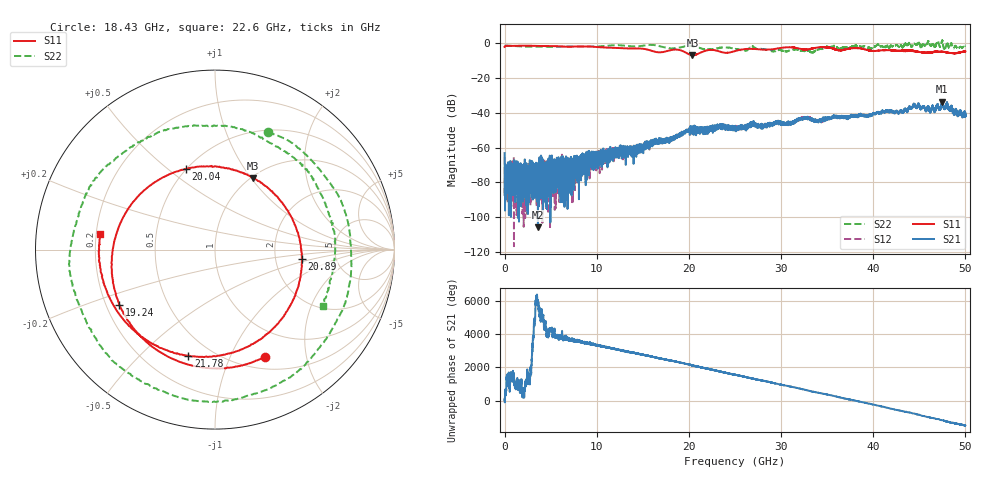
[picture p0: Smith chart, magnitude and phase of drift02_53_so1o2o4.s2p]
!Created with skrf (http://scikit-rf.org).
# Hz S RI R 50.0
!freq ReS11 ImS11 ReS21 ImS21 ReS12 ImS12 ReS22 ImS22
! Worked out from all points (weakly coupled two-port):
!   10001 points, 300 kHz to 50 GHz, reference 50 ohm
!   highest |S21| = -33.65 dB at 47.5 GHz (marker M1); lowest = -106.0 dB at 3.615 GHz (marker M2)
!   lowest |S11| = -6.9 dB at 20.38 GHz (marker M3), VSWR 2.64, Z = 51.2 + j51.1 ohm
!   |S11| at or under -10 dB: nowhere
!   |S22| runs from -5.3 to 1.7 dB; largest |S21 - S12| = 0.0041
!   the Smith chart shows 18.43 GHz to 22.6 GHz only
!   S11 on the Smith chart (normalised r, x): 18.43 GHz: 0.64, -1.36; 19.24 GHz: 0.25, -0.25; 20.04 GHz: 0.50, +0.58; 20.89 GHz: 2.84, -0.37; 21.78 GHz: 0.38, -0.71; 22.6 GHz: 0.22, +0.06
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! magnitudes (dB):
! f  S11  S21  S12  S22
! 300 kHz  -2.1  -63.2  -65.4  -1.3
! 250.3 MHz  -1.4  -79.0  -86.4  -1.4
! 385.3 MHz  -1.4  -69.8  -72.6  -1.4
! 3.615 GHz  -1.5  -106.0  -69.0  -1.9
! 3.94 GHz  -1.5  -64.7  -81.1  -1.9
! 4.48 GHz  -1.6  -73.2  -70.8  -2.0
! 4.905 GHz  -1.6  -70.0  -73.2  -2.0
! 8.335 GHz  -1.7  -70.0  -68.8  -1.9
! 16.67 GHz  -5.2  -56.4  -56.8  -1.5
! 18.43 GHz  -3.6  -54.2  -55.4  -2.9
! 19.24 GHz  -4.2  -51.4  -51.8  -2.1
! 20.04 GHz  -6.4  -50.8  -50.1  -1.5
! 20.38 GHz  -6.9  -50.3  -50.7  -1.7
! 20.89 GHz  -6.3  -48.2  -48.9  -2.2
! 21.78 GHz  -4.3  -49.0  -49.3  -3.5
! 22.6 GHz  -3.8  -51.5  -48.1  -3.4
! 25 GHz  -4.5  -49.2  -49.3  -3.2
! 33.34 GHz  -3.0  -43.9  -44.2  -5.1
! 34.9 GHz  -2.3  -43.6  -42.9  -2.1
! 41.67 GHz  -3.9  -38.7  -39.0  -2.1
! 47.5 GHz  -4.9  -33.7  -34.0  1.4
! 50 GHz  -4.7  -40.9  -40.1  -1.4
